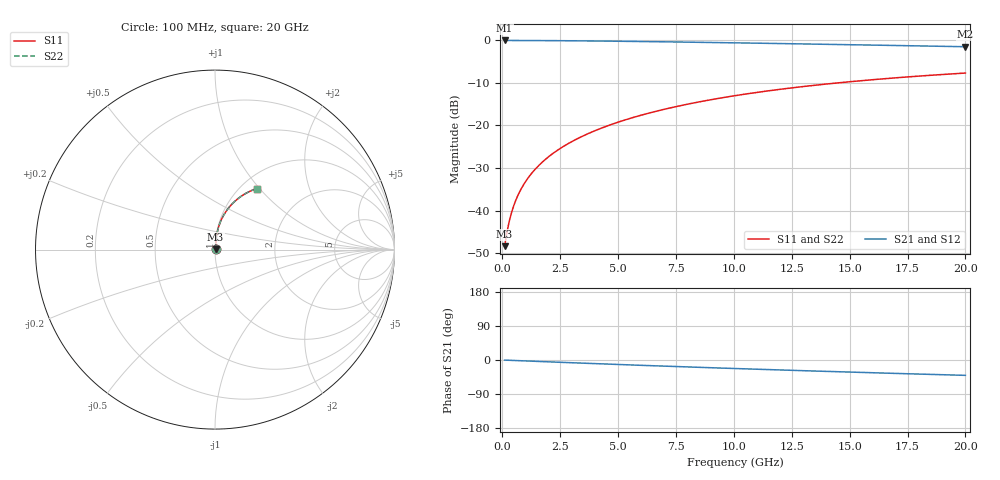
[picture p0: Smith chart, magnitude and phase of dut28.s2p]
! Touchstone file exported from HFSS 2024.1.0
!  File:  C:/UserFiles/LocalFiles/RDL_TSV_Batchsim/temp_RDL_bottom_28_1778692034.aedt
!  Generated:  01:10:09 AM May 14, 2026
!  Design:  RDL_bottom
!  Project:  temp_RDL_bottom_28_1778692034
!  Setup:  Setup1
!  Solution:  Sweep
! Variables:
!  dtsv = 10.80580581um
!  hbump = 3um
!  htsv = 73.76um
!  ldown = 517.11um
!  lrdl = 100um
!  p = 40
!  p1 = 59.34um
!  rhole = 1um
!  t = 450um
!  tdown = 3.06um
!  trdl = 3.915915916um
!  wdown = 21.08um
!  wrdl = 20um
# GHz S MA R 50.000000
! Terminal data exported
! Port[1] = RDL1_T1
! Port[2] = RDL1_T2
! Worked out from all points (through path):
!   200 points, 100 MHz to 20 GHz, reference 50 ohm
!   highest |S21| = -0.03 dB at 100 MHz (marker M1); lowest = -1.5 dB at 20 GHz (marker M2)
!   group delay of S21, straight-line fit = 5.59 ps
!   lowest |S11| = -48.4 dB at 100 MHz (marker M3), VSWR 1.01, Z = 50.3 + j0.229 ohm
!   |S11| at or under -10 dB: start of sweep to 14.49 GHz
!   |S22| runs from -48.4 to -7.7 dB; largest |S21 - S12| = 2.6e-15
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0.1  0.00381 36.7  0.9969 -0.3  0.9969 -0.3  0.00381 36.7
! Gamma 0 0 0 0
! Port Impedance 50 0 50 0
0.2  0.00551 55.0  0.9968 -0.5  0.9968 -0.5  0.00551 55.0
0.3  0.007463 63.8  0.9967 -0.8  0.9967 -0.8  0.007463 63.8
0.4  0.009477 68.8  0.9965 -1.0  0.9965 -1.0  0.009477 68.8
0.5  0.01151 72.0  0.9963 -1.2  0.9963 -1.2  0.01151 72.0
0.6  0.01355 74.3  0.9961 -1.5  0.9961 -1.5  0.01355 74.3
0.8  0.01765 77.4  0.9958 -2.0  0.9958 -2.0  0.01765 77.4
1.1  0.02386 80.0  0.9952 -2.7  0.9952 -2.7  0.02386 80.0
1.5  0.03224 81.9  0.9942 -3.7  0.9942 -3.7  0.03224 81.9
1.8  0.0386 82.6  0.9933 -4.4  0.9933 -4.4  0.0386 82.6
2.1  0.045 83.1  0.9923 -5.1  0.9923 -5.1  0.045 83.1
2.7  0.05795 83.5  0.9898 -6.5  0.9898 -6.5  0.05796 83.5
3.5  0.07551 83.4  0.9858 -8.4  0.9858 -8.4  0.07551 83.4
4.2  0.09111 82.9  0.9817 -10.0  0.9817 -10.0  0.09112 82.9
5  0.1092 82.0  0.9764 -11.8  0.9764 -11.8  0.1092 82.1
5.9  0.1297 80.9  0.9699 -13.8  0.9699 -13.8  0.1297 80.9
6.8  0.1503 79.5  0.9628 -15.8  0.9628 -15.8  0.1503 79.5
8.4  0.1868 76.7  0.9495 -19.2  0.9495 -19.2  0.1869 76.7
10.1  0.2249 73.6  0.9345 -22.6  0.9345 -22.6  0.2249 73.6
13.4  0.2947 67.3  0.904 -29.0  0.904 -29.0  0.2947 67.3
16.7  0.3575 61.2  0.8726 -34.9  0.8726 -34.9  0.3575 61.2
20  0.4126 55.5  0.8413 -40.5  0.8413 -40.5  0.4127 55.5
